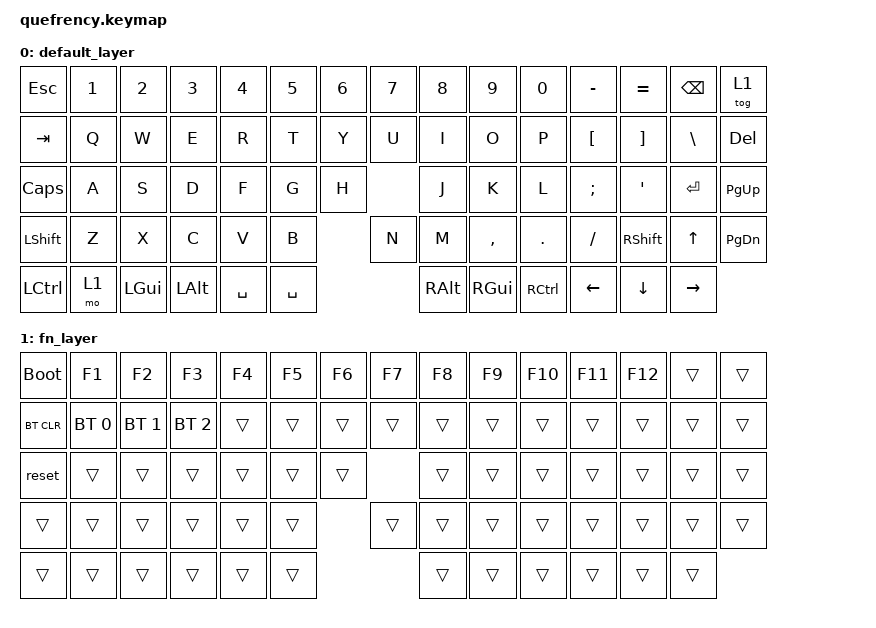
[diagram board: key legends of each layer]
/*
 * Copyright (c) 2020 The ZMK Contributors
 *
 * SPDX-License-Identifier: MIT
 */

#include <behaviors.dtsi>
#include <dt-bindings/zmk/bt.h>
#include <dt-bindings/zmk/keys.h>

/ {
    keymap {
        compatible = "zmk,keymap";

// ----------------------------------------------      -----------------------------------------------------
// | ESC  |  1   |  2  |  3   |  4  |  5  |  6  |      |  7  |  8  |  9  |  0  |  -  |  =  |  BKSPC |  FN  |
// | TAB   |  Q   |  W  |  E   |  R  |  T  |        |  Y  |  U  |  I  |  O  |  P  |  [  |  ]  |  \  | DEL  |
// | CAPS   |  A   |  S  |  D   |  F  |  G  |        |  H  |  J  |  K  |  L  |  ;  |  '  |   ENTER  | PGUP |
// | SHIFT   |  Z   |  X  |  C  |  V   |  B  |        |  N  |  M  |  ,  |  .  |  /  |  RSHFT  |  UP | PGDN |
// | LCTRL   | FN  | LGUI | LALT |   SPACE   |        |    SPACE    | RALT | RGUI |RCTRL| LFT | DWN | RGHT |
// -------------------------------------------        ------------------------------------------------------

        default_layer {
            bindings = <
    &kp ESC   &kp N1   &kp N2   &kp N3    &kp N4 &kp N5 &kp N6 /**/ &kp N7    &kp N8   &kp N9    &kp N0    &kp MINUS &kp EQUAL &kp BSPC &tog 1
    &kp TAB   &kp Q    &kp W    &kp E     &kp R  &kp T         /**/ &kp Y     &kp U    &kp I     &kp O     &kp P     &kp LBKT  &kp RBKT &kp BSLH &kp DEL
    &kp CAPS &kp A    &kp S    &kp D     &kp F  &kp G         /**/ &kp H     &kp J    &kp K     &kp L     &kp SEMI  &kp SQT   &kp RET  &kp PG_UP
    &kp LSHFT &kp Z    &kp X    &kp C     &kp V  &kp B         /**/ &kp N     &kp M    &kp COMMA &kp DOT   &kp FSLH  &kp RSHFT &kp UP   &kp PG_DN
    &kp LCTRL &mo 1    &kp LGUI &kp LALT  &kp SPACE            /**/ &kp SPACE &kp RALT &kp RGUI &kp RCTRL  &kp LEFT  &kp DOWN  &kp RIGHT
            >;
        };

// ----------------------------------------------     -----------------------------------------------------
// |hrdrst|  F1  |  F2 |  F3  |  F4 |  F5 |  F6 |     |  F7 |  F8 |  F9 | F10 | F11 | F12 |        |      |
// |BT_CLR | BT-0 | BT-1| BT-2 |     |     |       |     |     |     |     |     |     |     |     |      |
// |sftreset|      |     |      |     |     |       |     |     |     |     |     |     |          |      |
// |         |      |     |     |      |     |       |     |     |     |     |     |         |     |      |
// |         |      |      |           |     |       |             |      |    |       |     |     |      |
// -------------------------------------------       ------------------------------------------------------

        fn_layer {
            bindings = <
    &bootloader &kp F1       &kp F2       &kp F3       &kp F4 &kp F5 &kp F6 /**/ &kp F7 &kp F8 &kp F9 &kp F10 &kp F11 &kp F12 &trans &trans
    &bt BT_CLR     &bt BT_SEL 0 &bt BT_SEL 1 &bt BT_SEL 2 &trans &trans        /**/ &trans &trans &trans &trans  &trans  &trans  &trans &trans &trans
    &reset     &trans       &trans       &trans       &trans &trans        /**/ &trans &trans &trans &trans  &trans  &trans  &trans &trans
    &trans     &trans       &trans       &trans       &trans &trans        /**/ &trans &trans &trans &trans  &trans  &trans  &trans &trans
    &trans     &trans       &trans       &trans       &trans               /**/ &trans &trans &trans &trans  &trans  &trans  &trans
            >;
        };
    };
};
